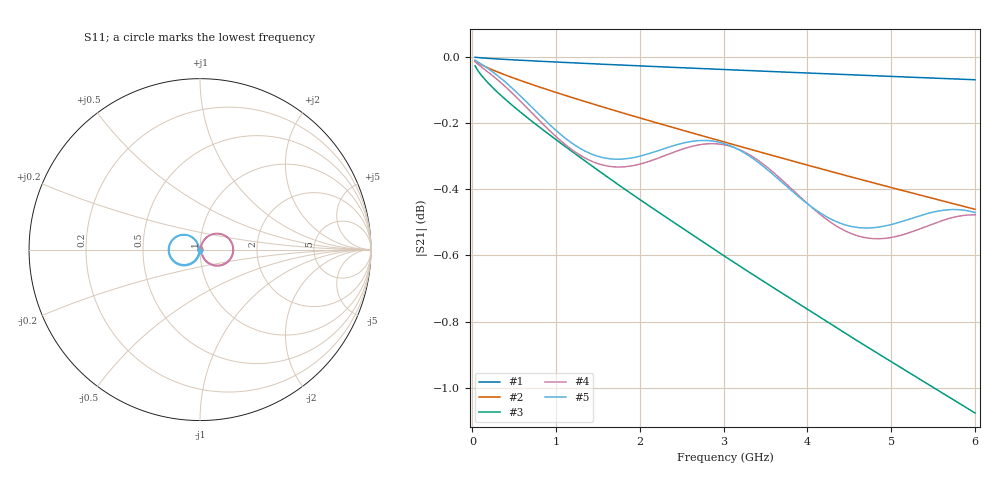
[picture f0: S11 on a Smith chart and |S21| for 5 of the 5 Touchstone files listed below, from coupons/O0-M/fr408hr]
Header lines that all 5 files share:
! stackup OSHPARK-4L-FR408HR, nominal parameters; geometry of the OSHPARK-4L-FR408HR design
! model: 2D quasi-static RLGC (Djordjevic-Sarkar, Huray roughness, Wheeler loss); generated by python -m yapnr.rf.coupons expected --stackup OSHPARK-4L-FR408HR --upload M
! reference planes 10 mm from each end; 50 ohm (from the M line's Zc)
# GHz S DB R 50
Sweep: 30 MHz to 6 GHz
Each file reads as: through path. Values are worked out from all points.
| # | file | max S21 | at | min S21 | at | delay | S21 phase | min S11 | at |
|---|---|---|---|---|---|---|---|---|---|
| 1 | A02-M-line.s2p | 0.00 dB | 30 MHz | -0.1 dB | 6 GHz | 24.7 ps | -27 deg at 3.03 GHz | -72.7 dB | 30 MHz |
| 2 | A04R-M-line.s2p | -0.01 dB | 30 MHz | -0.5 dB | 6 GHz | 164 ps | -180 deg at 3.03 GHz | -68.6 dB | 3.03 GHz |
| 3 | A05-M-line.s2p | -0.03 dB | 30 MHz | -1.1 dB | 6 GHz | 384 ps | -60 deg at 3.03 GHz | -66.7 dB | 1.29 GHz |
| 4 | A08-M07-variant.s2p | -0.01 dB | 30 MHz | -0.5 dB | 4.83 GHz | 161 ps | -177 deg at 3.03 GHz | -44.3 dB | 3.09 GHz |
| 5 | A09-M14-variant.s2p | -0.01 dB | 30 MHz | -0.5 dB | 4.71 GHz | 167 ps | 177 deg at 3.03 GHz | -44.8 dB | 30 MHz |
